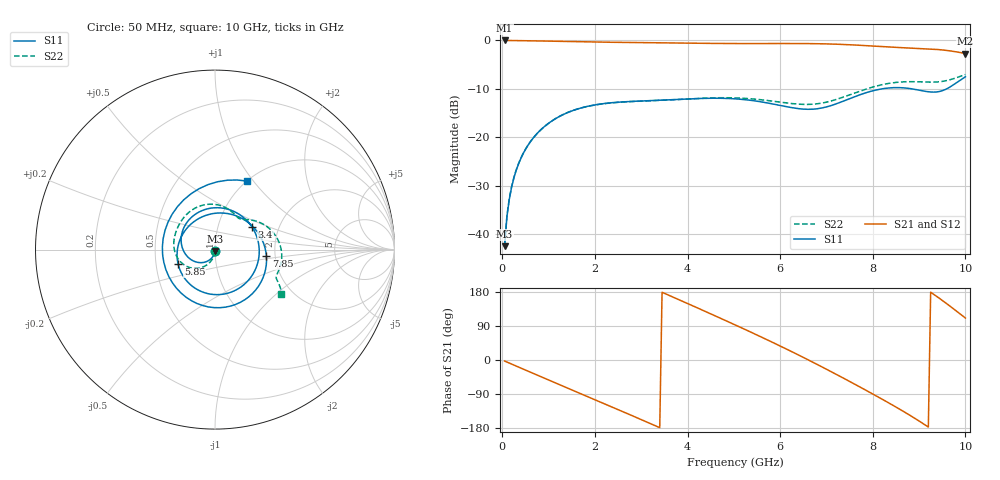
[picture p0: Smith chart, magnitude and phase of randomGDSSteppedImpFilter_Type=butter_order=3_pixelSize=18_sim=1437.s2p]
! freq	dB(S11)	phase(S11)	dB(S12)	phase(S12)
!  dB(S21)	phase(S21)	dB(S22)	phase(S22)
!S-par simulation data
#  GHz  S  DB  R 50
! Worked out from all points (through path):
!   200 points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, 50 MHz to 10 GHz, reference 50 ohm
!   highest |S21| = -0.01 dB at 50 MHz (marker M1); lowest = -2.7 dB at 10 GHz (marker M2)
!   group delay of S21, straight-line fit = 163 ps
!   lowest |S11| = -42.4 dB at 50 MHz (marker M3), VSWR 1.02, Z = 50 - j0.755 ohm
!   |S11| at or under -10 dB: start of sweep to 8.189 GHz; 8.854 GHz to 9.591 GHz (736.9 MHz wide, 7.99 % of centre)
!   |S22| runs from -42.2 to -7.0 dB; largest |S21 - S12| = 0
!   S11 on the Smith chart (normalised r, x): 50 MHz: 1.00, -0.02; 3.4 GHz: 1.46, +0.39; 5.85 GHz: 0.65, -0.11; 7.85 GHz: 1.80, -0.14; 10 GHz: 1.01, +0.93
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0.05  -42.42 -93.1  -0.01 -2.7  -0.01 -2.7  -42.18 -91.7
0.1  -36.36 -96.8  -0.02 -5.4  -0.02 -5.4  -36.17 -94.2
0.2  -30.30 -103.3  -0.03 -10.7  -0.03 -10.7  -30.18 -98.7
0.5  -22.47 -122.4  -0.06 -26.5  -0.06 -26.5  -22.44 -111.6
1.15  -16.12 -164.4  -0.18 -60.6  -0.18 -60.6  -16.12 -138.0
1.75  -13.80 155.4  -0.29 -91.8  -0.29 -91.8  -13.80 -160.8
2.2  -13.01 123.6  -0.36 -115.2  -0.36 -115.2  -13.04 -175.8
2.65  -12.65 90.1  -0.41 -138.8  -0.41 -138.8  -12.67 170.8
3.4  -12.34 31.1  -0.49 -178.6  -0.49 -178.6  -12.36 150.7
4.15  -12.01 -28.1  -0.58 141.0  -0.58 141.0  -11.99 129.8
4.6  -11.92 -62.0  -0.62 116.3  -0.62 116.3  -11.83 115.1
5.05  -12.06 -95.4  -0.65 91.4  -0.65 91.4  -11.85 99.1
5.85  -13.12 -158.2  -0.64 45.8  -0.64 45.8  -12.53 71.0
6.3  -13.93 159.6  -0.64 19.0  -0.64 19.0  -13.06 58.8
6.7  -14.18 116.1  -0.66 -5.5  -0.66 -5.5  -13.15 51.3
7.2  -13.11 59.2  -0.77 -37.1  -0.77 -37.1  -12.20 42.9
7.85  -10.80 -7.0  -1.07 -79.7  -1.07 -79.7  -10.04 24.5
8.35  -9.80 -54.7  -1.35 -113.6  -1.35 -113.6  -8.86 5.5
8.8  -9.92 -102.5  -1.57 -145.8  -1.57 -145.8  -8.50 -10.9
9.25  -10.63 -166.0  -1.77 178.9  -1.77 178.9  -8.61 -22.1
9.6  -9.96 131.3  -2.07 148.4  -2.07 148.4  -8.27 -26.3
10  -7.50 64.7  -2.70 110.7  -2.70 110.7  -7.04 -33.6
